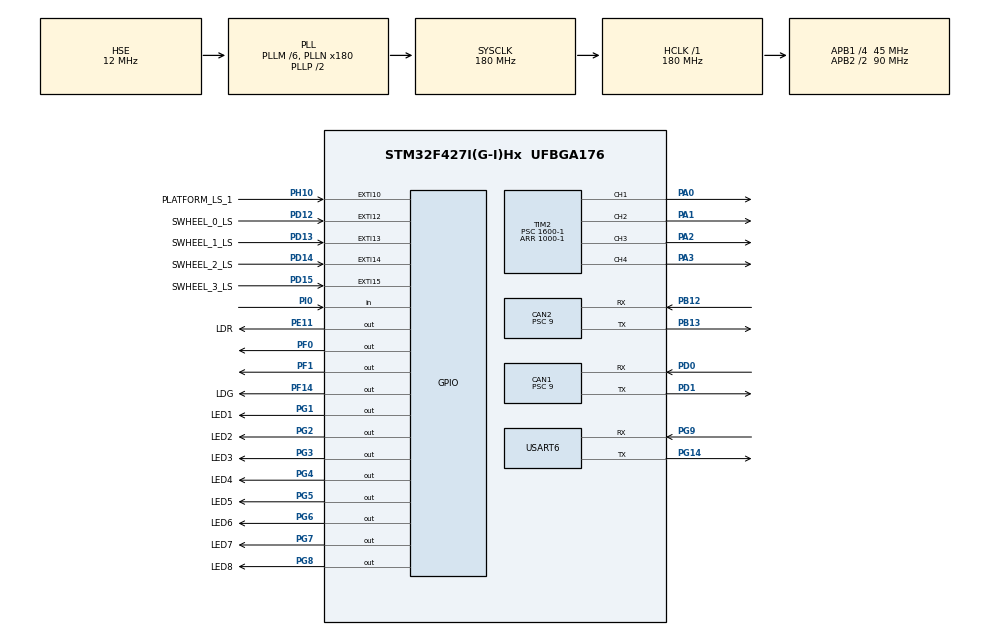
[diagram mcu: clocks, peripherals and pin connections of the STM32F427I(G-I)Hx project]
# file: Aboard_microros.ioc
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CAN1.ABOM=DISABLE
CAN1.AWUM=DISABLE
CAN1.BS1=CAN_BS1_3TQ
CAN1.BS2=CAN_BS2_1TQ
CAN1.CalculateBaudRate=1000000
CAN1.CalculateTimeBit=1000
CAN1.CalculateTimeQuantum=200.0
CAN1.Mode=CAN_MODE_NORMAL
CAN1.NART=DISABLE
CAN1.Prescaler=9
CAN1.RFLM=DISABLE
CAN1.SJW=CAN_SJW_1TQ
CAN1.TTCM=DISABLE
CAN1.TXFP=DISABLE
CAN2.BS1=CAN_BS1_3TQ
CAN2.CalculateBaudRate=1000000
CAN2.CalculateTimeBit=1000
CAN2.CalculateTimeQuantum=200.0
CAN2.Prescaler=9
FREERTOS.HEAP_NUMBER=4
FREERTOS.Tasks01=nullTask,40,128,StartNullTask,Default,NULL,Dynamic,NULL,NULL
FREERTOS.configENABLE_FPU=1
FREERTOS.configTOTAL_HEAP_SIZE=30720
FREERTOS.configUSE_NEWLIB_REENTRANT=1
Mcu.Family=STM32F4
Mcu.Name=STM32F427I(G-I)Hx
Mcu.Package=UFBGA176
NVIC.CAN1_RX0_IRQn=true\:5\:0\:false\:false\:true\:true\:true\:true\:true
NVIC.CAN2_RX0_IRQn=true\:5\:0\:false\:false\:true\:true\:true\:true\:true
NVIC.EXTI15_10_IRQn=true\:5\:0\:true\:false\:true\:true\:true\:true\:true
NVIC.PriorityGroup=NVIC_PRIORITYGROUP_4
NVIC.TIM1_TRG_COM_TIM11_IRQn=true\:5\:0\:false\:false\:true\:true\:true\:true\:true
NVIC.TIM1_UP_TIM10_IRQn=true\:15\:0\:false\:false\:true\:false\:false\:true\:true
NVIC.TimeBase=TIM1_UP_TIM10_IRQn
NVIC.TimeBaseIP=TIM1
NVIC.USART6_IRQn=true\:5\:0\:false\:false\:true\:true\:true\:true\:true
PA0/WKUP.Signal=S_TIM2_CH1_ETR
PA1.Signal=S_TIM2_CH2
PA13.Mode=Serial_Wire
PA13.Signal=SYS_JTMS-SWDIO
PA14.Mode=Serial_Wire
PA14.Signal=SYS_JTCK-SWCLK
PA2.Signal=S_TIM2_CH3
PA3.Signal=S_TIM2_CH4
PB12.Mode=CAN_Activate
PB12.Signal=CAN2_RX
PB13.Mode=CAN_Activate
PB13.Signal=CAN2_TX
PC14/OSC32_IN.Mode=LSE-External-Clock-Source
PC14/OSC32_IN.Signal=RCC_OSC32_IN
PC15/OSC32_OUT.Mode=LSE-External-Clock-Source
PC15/OSC32_OUT.Signal=RCC_OSC32_OUT
PD0.Mode=CAN_Activate
PD0.Signal=CAN1_RX
PD1.Mode=CAN_Activate
PD1.Signal=CAN1_TX
PD12.GPIO_Label=SWHEEL_0_LS
PD12.GPIO_PuPd=GPIO_PULLDOWN
PD12.Signal=GPXTI12
PD13.GPIO_Label=SWHEEL_1_LS
PD13.GPIO_PuPd=GPIO_PULLDOWN
PD13.Signal=GPXTI13
PD14.GPIO_Label=SWHEEL_2_LS
PD14.GPIO_PuPd=GPIO_PULLDOWN
PD14.Signal=GPXTI14
PD15.GPIO_Label=SWHEEL_3_LS
PD15.GPIO_PuPd=GPIO_PULLDOWN
PD15.Signal=GPXTI15
PD8.Signal=USART3_TX
PD9.Signal=USART3_RX
PE11.GPIO_Label=LDR
PE11.PinState=GPIO_PIN_SET
PE11.Signal=GPIO_Output
PE7.Signal=UART7_RX
PE8.Signal=UART7_TX
PF0.PinState=GPIO_PIN_RESET
PF0.Signal=GPIO_Output
PF1.PinState=GPIO_PIN_RESET
PF1.Signal=GPIO_Output
PF14.GPIO_Label=LDG
PF14.PinState=GPIO_PIN_SET
PF14.Signal=GPIO_Output
PG1.GPIO_Label=LED1
PG1.PinState=GPIO_PIN_SET
PG1.Signal=GPIO_Output
PG14.Mode=Asynchronous
PG14.Signal=USART6_TX
PG2.GPIO_Label=LED2
PG2.PinState=GPIO_PIN_SET
PG2.Signal=GPIO_Output
PG3.GPIO_Label=LED3
PG3.PinState=GPIO_PIN_SET
PG3.Signal=GPIO_Output
PG4.GPIO_Label=LED4
PG4.PinState=GPIO_PIN_SET
PG4.Signal=GPIO_Output
PG5.GPIO_Label=LED5
PG5.PinState=GPIO_PIN_SET
PG5.Signal=GPIO_Output
PG6.GPIO_Label=LED6
PG6.PinState=GPIO_PIN_SET
PG6.Signal=GPIO_Output
PG7.GPIO_Label=LED7
PG7.PinState=GPIO_PIN_SET
PG7.Signal=GPIO_Output
PG8.GPIO_Label=LED8
PG8.PinState=GPIO_PIN_SET
PG8.Signal=GPIO_Output
PG9.Mode=Asynchronous
PG9.Signal=USART6_RX
PH0/OSC_IN.Mode=HSE-External-Oscillator
PH0/OSC_IN.Signal=RCC_OSC_IN
PH1/OSC_OUT.Mode=HSE-External-Oscillator
PH1/OSC_OUT.Signal=RCC_OSC_OUT
PH10.GPIO_Label=PLATFORM_LS_1
PH10.GPIO_PuPd=GPIO_PULLDOWN
PH10.Signal=GPXTI10
PI0.GPIO_PuPd=GPIO_PULLDOWN
PI0.Signal=GPIO_Input
ProjectManager.HeapSize=0x200
ProjectManager.StackSize=0x400
ProjectManager.TargetToolchain=Makefile
RCC.48MHZClocksFreq_Value=51428571.428571425
RCC.AHBFreq_Value=180000000
RCC.APB1CLKDivider=RCC_HCLK_DIV4
RCC.APB1Freq_Value=45000000
RCC.APB1TimFreq_Value=90000000
RCC.APB2CLKDivider=RCC_HCLK_DIV2
RCC.APB2Freq_Value=90000000
RCC.APB2TimFreq_Value=180000000
RCC.CortexFreq_Value=180000000
RCC.FLatency=FLASH_LATENCY_5
RCC.HCLKFreq_Value=180000000
RCC.HSE_VALUE=12000000
RCC.HSI_VALUE=16000000
RCC.LSE_VALUE=32768
RCC.PLLM=6
RCC.PLLN=180
RCC.PLLQ=7
RCC.PLLSourceVirtual=RCC_PLLSOURCE_HSE
RCC.PWREXT_OverDrive=PWREXT_OverDrive_ACTIVATED
RCC.PWR_Regulator_Voltage_Scale=PWR_REGULATOR_VOLTAGE_SCALE1
RCC.SYSCLKFreq_VALUE=180000000
RCC.SYSCLKSource=RCC_SYSCLKSOURCE_PLLCLK
RCC.VCOOutputFreq_Value=360000000
SH.S_TIM2_CH1_ETR.0=TIM2_CH1,PWM Generation1 CH1
SH.S_TIM2_CH2.0=TIM2_CH2,PWM Generation2 CH2
SH.S_TIM2_CH3.0=TIM2_CH3,PWM Generation3 CH3
SH.S_TIM2_CH4.0=TIM2_CH4,PWM Generation4 CH4
STMicroelectronics.X-CUBE-ALGOBUILD.1.3.0.LibraryCcDSPOoLibraryJjDSPOoLibrary=true
TIM11.AutoReloadPreload=TIM_AUTORELOAD_PRELOAD_ENABLE
TIM11.Period=50
TIM11.Prescaler=180
TIM2.Channel-PWM\ Generation1\ CH1=TIM_CHANNEL_1
TIM2.Channel-PWM\ Generation2\ CH2=TIM_CHANNEL_2
TIM2.Channel-PWM\ Generation3\ CH3=TIM_CHANNEL_3
TIM2.Channel-PWM\ Generation4\ CH4=TIM_CHANNEL_4
TIM2.Period=1000-1
TIM2.Prescaler=1600-1
USART6.VirtualMode=VM_ASYNC
VP_FREERTOS_VS_CMSIS_V2.Mode=CMSIS_V2
VP_STMicroelectronics.X-CUBE-ALGOBUILD_VS_DSPOoLibraryJjLibrary_1.3.0_1.3.0.Mode=DSPOoLibraryJjLibrary
VP_SYS_VS_tim1.Mode=TIM1
VP_TIM11_VS_ClockSourceINT.Mode=Enable_Timer
VP_TIM2_VS_ClockSourceINT.Mode=Internal
board=custom

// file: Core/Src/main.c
/* USER CODE BEGIN Header */
/**
  ******************************************************************************
  * @file           : main.c
  * @brief          : Main program body
  ******************************************************************************
  * @attention
  *
  * Copyright (c) 2023 STMicroelectronics.
  * All rights reserved.
  *
  * This software is licensed under terms that can be found in the LICENSE file
  * in the root directory of this software component.
  * If no LICENSE file comes with this software, it is provided AS-IS.
  *
  ******************************************************************************
  */
/* USER CODE END Header */
#include "main.h"
#include "cmsis_os.h"
#include "can.h"
#include "tim.h"
#include "usart.h"
#include "gpio.h"

/* USER CODE BEGIN Includes */
#include "_startup.h"
#include "semphr.h"
/* USER CODE END Includes */

void SystemClock_Config(void);
void MX_FREERTOS_Init(void);

int main(void)
{

  /* MCU Configuration--------------------------------------------------------*/

  /* Reset of all peripherals, Initializes the Flash interface and the Systick. */
  HAL_Init();

  /* Configure the system clock */
  SystemClock_Config();

  /* Initialize all configured peripherals */
  MX_GPIO_Init();
  MX_CAN1_Init();
  MX_TIM2_Init();
  MX_CAN2_Init();
  MX_TIM11_Init();
  MX_USART6_UART_Init();
  /* USER CODE BEGIN 2 */
  //HAL_TIM_Base_Start_IT(&htim11);
  StartUp();
  //MY_GPIO_Init();
  /* USER CODE END 2 */

  /* Init scheduler */
  osKernelInitialize();

  /* Call init function for freertos objects (in cmsis_os2.c) */
  MX_FREERTOS_Init();

  /* Start scheduler */
  osKernelStart();

  /* We should never get here as control is now taken by the scheduler */

  /* Infinite loop */
  while (1)
  {

  }
}

void SystemClock_Config(void)
{
  RCC_OscInitTypeDef RCC_OscInitStruct = {0};
  RCC_ClkInitTypeDef RCC_ClkInitStruct = {0};

  /** Configure the main internal regulator output voltage
  */
  __HAL_RCC_PWR_CLK_ENABLE();
  __HAL_PWR_VOLTAGESCALING_CONFIG(PWR_REGULATOR_VOLTAGE_SCALE1);

  /** Initializes the RCC Oscillators according to the specified parameters
  * in the RCC_OscInitTypeDef structure.
  */
  RCC_OscInitStruct.OscillatorType = RCC_OSCILLATORTYPE_HSE;
  RCC_OscInitStruct.HSEState = RCC_HSE_ON;
  RCC_OscInitStruct.PLL.PLLState = RCC_PLL_ON;
  RCC_OscInitStruct.PLL.PLLSource = RCC_PLLSOURCE_HSE;
  RCC_OscInitStruct.PLL.PLLM = 6;
  RCC_OscInitStruct.PLL.PLLN = 180;
  RCC_OscInitStruct.PLL.PLLP = RCC_PLLP_DIV2;
  RCC_OscInitStruct.PLL.PLLQ = 7;
  if (HAL_RCC_OscConfig(&RCC_OscInitStruct) != HAL_OK)
  {
    Error_Handler();
  }

  /** Activate the Over-Drive mode
  */
  if (HAL_PWREx_EnableOverDrive() != HAL_OK)
  {
    Error_Handler();
  }

  /** Initializes the CPU, AHB and APB buses clocks
  */
  RCC_ClkInitStruct.ClockType = RCC_CLOCKTYPE_HCLK|RCC_CLOCKTYPE_SYSCLK
                              |RCC_CLOCKTYPE_PCLK1|RCC_CLOCKTYPE_PCLK2;
  RCC_ClkInitStruct.SYSCLKSource = RCC_SYSCLKSOURCE_PLLCLK;
  RCC_ClkInitStruct.AHBCLKDivider = RCC_SYSCLK_DIV1;
  RCC_ClkInitStruct.APB1CLKDivider = RCC_HCLK_DIV4;
  RCC_ClkInitStruct.APB2CLKDivider = RCC_HCLK_DIV2;

  if (HAL_RCC_ClockConfig(&RCC_ClkInitStruct, FLASH_LATENCY_5) != HAL_OK)
  {
    Error_Handler();
  }
}

void HAL_TIM_PeriodElapsedCallback(TIM_HandleTypeDef *htim)
{
  /* USER CODE BEGIN Callback 0 */
  if (htim->Instance == TIM11) {
    //   FreeRTOSRunTimeTicks++;
    }
  /* USER CODE END Callback 0 */
  if (htim->Instance == TIM1)
  {
    HAL_IncTick();
  }
}

void Error_Handler(void)
{
  __disable_irq();
  while (1)
  {
  }
}

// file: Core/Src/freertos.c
/* USER CODE BEGIN Header */
/**
  ******************************************************************************
  * File Name          : freertos.c
  * Description        : Code for freertos applications
  ******************************************************************************
  * @attention
  *
  * Copyright (c) 2023 STMicroelectronics.
  * All rights reserved.
  *
  * This software is licensed under terms that can be found in the LICENSE file
  * in the root directory of this software component.
  * If no LICENSE file comes with this software, it is provided AS-IS.
  *
  ******************************************************************************
  */
/* USER CODE END Header */

#include "FreeRTOS.h"
#include "task.h"
#include "main.h"
#include "cmsis_os.h"

/* USER CODE BEGIN Includes */
#include "semphr.h"
#include "event_groups.h"

#include "_chassis_thread.h"
#include "_mavlink_thread.h"
/* USER CODE END Includes */

/* USER CODE BEGIN Variables */

xTaskHandle mavlinkTaskHandle;
xTaskHandle chassisTaskHandle;

SemaphoreHandle_t sync_mutex;
SemaphoreHandle_t data_mutex;
/* USER CODE END Variables */
/* Definitions for nullTask */
osThreadId_t nullTaskHandle;
const osThreadAttr_t nullTask_attributes = {
  .name = "nullTask",
  .stack_size = 128 * 4,
  .priority = (osPriority_t) osPriorityHigh,
};

void StartNullTask(void *argument);

void MX_FREERTOS_Init(void); /* (MISRA C 2004 rule 8.1) */

void MX_FREERTOS_Init(void) {

  /* USER CODE BEGIN RTOS_SEMAPHORES */
  /* add semaphores, ... */

    //sync_mutex = xSemaphoreCreateBinary();
    data_mutex = xSemaphoreCreateMutex();
  /* USER CODE END RTOS_SEMAPHORES */

  /* Create the thread(s) */
  /* creation of nullTask */
  nullTaskHandle = osThreadNew(StartNullTask, NULL, &nullTask_attributes);

  /* USER CODE BEGIN RTOS_THREADS */
  /* add threads, ... */

if(xTaskCreate(StartChassisTask,"chassis task",512,NULL,5,&chassisTaskHandle)!=pdPASS)
{
    while (1);
}
if(xTaskCreate(StartMavlinkTask,"mavlink task",512,NULL,5,&mavlinkTaskHandle)!=pdPASS)
{
    while (1);
}

  /* USER CODE END RTOS_THREADS */

}

void StartNullTask(void *argument)
{
  /* USER CODE BEGIN StartNullTask */
  /* Infinite loop */
  vTaskDelete(NULL);
  /* USER CODE END StartNullTask */
}
